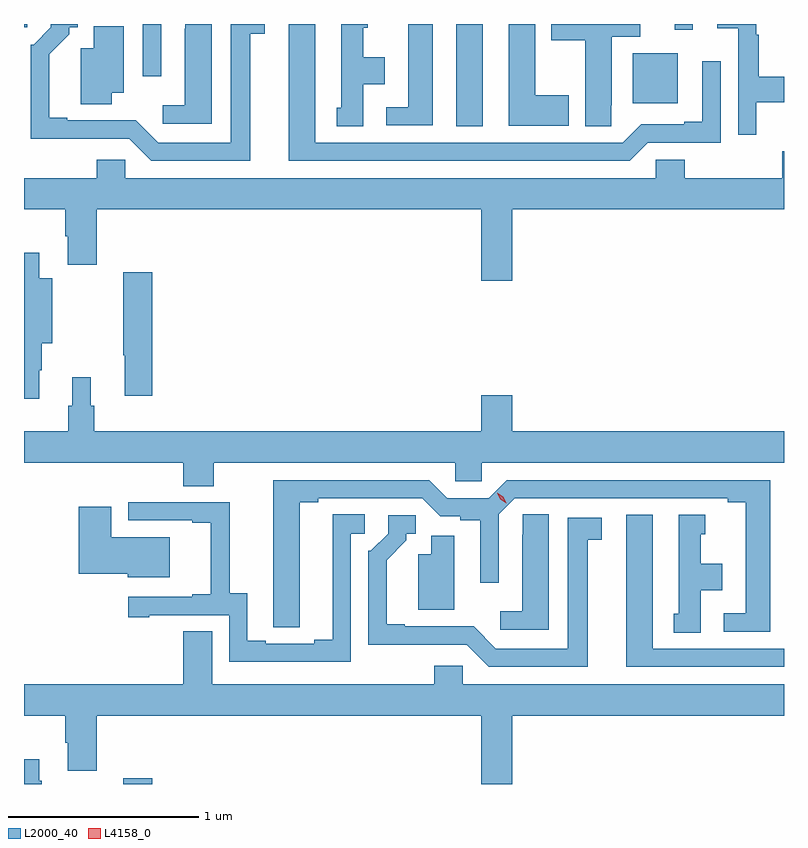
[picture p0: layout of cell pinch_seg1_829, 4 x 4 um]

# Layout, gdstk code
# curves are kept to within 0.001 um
import gdstk
lib = gdstk.Library(unit=1e-6, precision=1e-09)
def R(c, l, rs):  # rectangles x0, y0, x1, y1
    for r in rs: c.add(gdstk.rectangle(r[:2], r[2:], *l))
def P(c, l, *ps):  # polygons
    for p in ps: c.add(gdstk.Polygon(p, *l))
L2000_40 = (2000, 40)
L4158_0 = (4158, 0)

pinch_seg1_829 = lib.new_cell('pinch_seg1_829')
R(pinch_seg1_829, L2000_40, [(414.871,538.052,415.025,538.081), (416.624,541.513,416.764,542.052), (417.554,541.634,417.79,541.897), (414.975,541.776,415.071,542.052), (417.773,542.022,417.87,542.052), (414.349,542.034,414.367,542.052)])
P(pinch_seg1_829, L2000_40, [(417.441,541.624),(417.442,541.624),(417.442,541.986),(417.593,541.986),(417.593,542.052),(417.125,542.052),(417.125,541.966),(417.302,541.966),(417.302,541.513),(417.441,541.513)],
  [(418.204,541.64),(418.349,541.64),(418.349,541.775),(418.216,541.775),(418.216,541.995),(418.204,541.995),(418.204,542.052),(417.998,542.052),(417.998,542.03),(418.107,542.03),(418.107,541.47),(418.204,541.47)],
  [(415.54,542.002),(415.615,542.002),(415.615,542.052),(415.436,542.052),(415.436,541.428),(415.056,541.428),(414.938,541.546),(414.577,541.545),(414.577,541.558),(414.481,541.558),(414.481,541.894),(414.586,541.999),(414.586,542.034),(414.631,542.034),(414.631,542.052),(414.489,542.052),(414.489,542.034),(414.399,541.944),(414.384,541.944),(414.384,541.448),(414.903,541.449),(415.02,541.332),(415.54,541.332)],
  [(416.5,542.052),(416.372,542.052),(416.372,541.614),(416.256,541.614),(416.256,541.518),(416.5,541.518)],
  [(416.134,541.736),(416.248,541.736),(416.248,541.876),(416.134,541.876),(416.134,542.031),(416.158,542.031),(416.158,542.052),(416.018,542.052),(416.018,541.611),(415.994,541.611),(415.994,541.513),(416.134,541.513)],
  [(415.336,542.052),(415.197,542.052),(415.197,542.027),(415.196,542.027),(415.196,541.624),(415.08,541.624),(415.08,541.527),(415.336,541.527)],
  [(417.633,541.428),(418.017,541.428),(418.017,541.855),(417.92,541.855),(417.92,541.537),(417.824,541.537),(417.824,541.524),(417.597,541.524),(417.501,541.428),(415.882,541.428),(415.882,542.052),(415.742,542.052),(415.742,541.332),(417.537,541.332)],
  [(417.217,541.677),(417.04,541.677),(417.04,542.052),(416.901,542.052),(416.901,542.027),(416.9,542.027),(416.9,541.517),(417.217,541.517)],
  [(414.811,541.691),(414.874,541.691),(414.874,542.039),(414.716,542.039),(414.716,541.924),(414.647,541.924),(414.647,541.63),(414.811,541.63)],
  [(416.92,541.076),(418.349,541.076),(418.349,541.382),(418.34,541.382),(418.34,541.24),(417.827,541.24),(417.827,541.338),(417.675,541.338),(417.675,541.24),(414.882,541.24),(414.882,541.338),(414.731,541.338),(414.731,541.24),(414.349,541.24),(414.349,541.076),(414.566,541.076),(414.566,540.934),(414.578,540.934),(414.578,540.786),(414.731,540.786),(414.731,541.076),(416.756,541.076),(416.756,540.702),(416.92,540.702)],
  [(414.429,540.23),(414.442,540.23),(414.442,540.371),(414.498,540.371),(414.498,540.715),(414.43,540.715),(414.43,540.847),(414.349,540.847),(414.349,540.08),(414.429,540.08)],
  [(415.025,540.745),(414.871,540.745),(414.871,540.308),(414.878,540.308),(414.878,540.096),(415.025,540.096)],
  [(415.347,539.744),(416.619,539.744),(416.619,539.646),(416.757,539.646),(416.757,539.744),(418.349,539.744),(418.349,539.908),(416.92,539.908),(416.92,540.097),(416.756,540.097),(416.756,539.908),(414.719,539.908),(414.719,540.042),(414.7,540.042),(414.7,540.193),(414.602,540.193),(414.602,540.042),(414.583,540.042),(414.583,539.908),(414.349,539.908),(414.349,539.744),(415.187,539.744),(415.187,539.62),(415.347,539.62)],
  [(418.276,539.652),(416.891,539.652),(416.795,539.556),(416.577,539.556),(416.481,539.652),(415.661,539.652),(415.662,538.876),(415.801,538.876),(415.801,539.536),(415.897,539.536),(415.897,539.556),(416.445,539.556),(416.541,539.46),(416.646,539.46),(416.646,539.44),(416.75,539.44),(416.75,539.112),(416.847,539.112),(416.847,539.472),(416.931,539.556),(418.052,539.556),(418.052,539.536),(418.148,539.536),(418.148,538.95),(418.032,538.95),(418.032,538.854),(418.276,538.854)],
  [(416.07,539.37),(416.143,539.37),(416.143,539.471),(415.973,539.471),(415.973,538.811),(415.877,538.811),(415.877,538.791),(415.621,538.791),(415.621,538.806),(415.525,538.806),(415.525,539.057),(415.431,539.057),(415.431,539.535),(414.897,539.535),(414.897,539.439),(415.235,539.439),(415.235,539.427),(415.331,539.427),(415.331,539.05),(415.235,539.05),(415.235,539.037),(414.897,539.037),(414.897,538.929),(415.009,538.929),(415.009,538.941),(415.428,538.941),(415.428,538.695),(416.07,538.695)],
  [(415.117,539.35),(414.808,539.35),(414.808,539.512),(414.638,539.512),(414.638,539.159),(414.894,539.159),(414.894,539.141),(415.117,539.141)],
  [(417.112,539.471),(416.973,539.471),(416.973,539.363),(416.972,539.363),(416.972,538.96),(416.856,538.96),(416.856,538.863),(417.112,538.863)],
  [(417.91,539.072),(418.024,539.072),(418.024,539.212),(417.91,539.212),(417.91,539.367),(417.934,539.367),(417.934,539.47),(417.794,539.47),(417.794,538.947),(417.77,538.947),(417.77,538.849),(417.91,538.849)],
  [(418.349,538.764),(417.658,538.764),(417.658,539.47),(417.518,539.47),(417.518,538.668),(418.349,538.668)],
  [(417.316,539.338),(417.391,539.338),(417.391,539.454),(417.212,539.454),(417.212,538.764),(416.832,538.764),(416.715,538.881),(416.353,538.881),(416.353,538.894),(416.257,538.894),(416.257,539.23),(416.362,539.335),(416.362,539.37),(416.412,539.37),(416.412,539.466),(416.265,539.466),(416.265,539.37),(416.175,539.28),(416.16,539.28),(416.16,538.784),(416.679,538.785),(416.796,538.668),(417.316,538.668)],
  [(416.614,539.358),(416.492,539.358),(416.492,539.26),(416.423,539.26),(416.423,538.97),(416.614,538.97)],
  [(416.92,538.412),(418.349,538.412),(418.349,538.576),(416.658,538.576),(416.658,538.674),(416.507,538.674),(416.507,538.576),(415.339,538.576),(415.339,538.856),(415.187,538.856),(415.187,538.576),(414.349,538.576),(414.349,538.412),(414.566,538.412),(414.566,538.27),(414.578,538.27),(414.578,538.122),(414.731,538.122),(414.731,538.412),(416.756,538.412),(416.756,538.052),(416.92,538.052)],
  [(414.442,538.07),(414.43,538.07),(414.43,538.183),(414.349,538.183),(414.349,538.052),(414.442,538.052)])
P(pinch_seg1_829, L4158_0, [(416.886,539.529),(416.856,539.55),(416.84,539.584),(416.84,539.585),(416.841,539.585),(416.871,539.563),(416.887,539.529),(416.887,539.529)])

lib.write_gds('pinch_seg1_829.gds')
